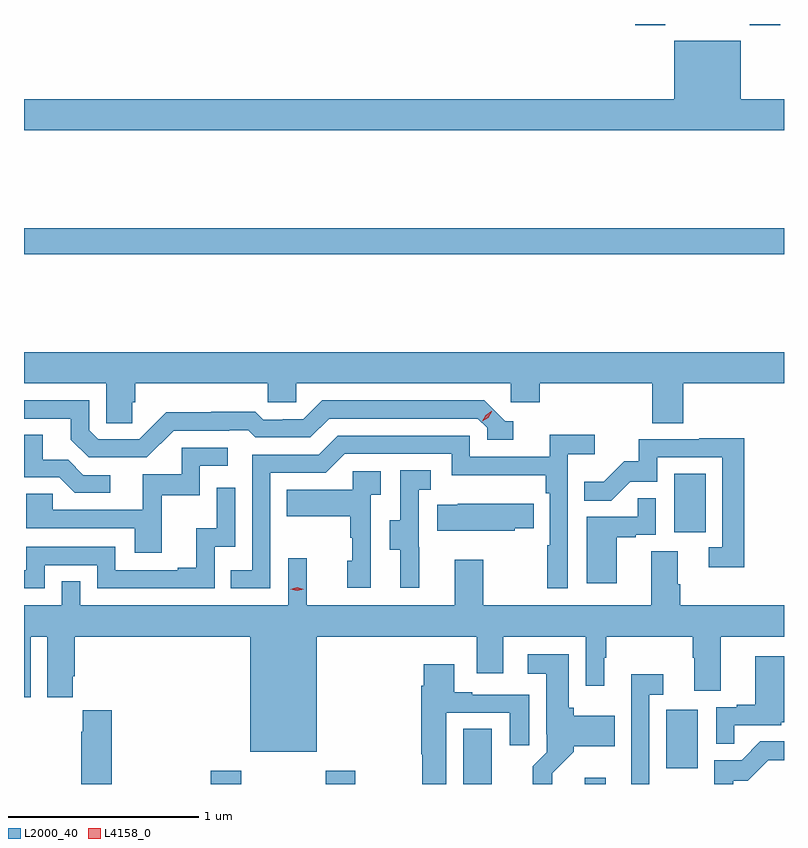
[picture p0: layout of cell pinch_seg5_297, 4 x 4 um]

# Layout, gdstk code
import gdstk
lib = gdstk.Library(unit=1e-6, precision=1e-09)
def R(c, l, rs):  # rectangles x0, y0, x1, y1
    for r in rs: c.add(gdstk.rectangle(r[:2], r[2:], *l))
def P(c, l, *ps):  # polygons
    for p in ps: c.add(gdstk.Polygon(p, *l))
L2000_40 = (2000, 40)
L4158_0 = (4158, 0)

pinch_seg5_297 = lib.new_cell('pinch_seg5_297')
R(pinch_seg5_297, L2000_40, [(891.749,890.616,891.909,890.686), (892.354,890.616,892.509,890.686), (893.078,890.616,893.227,890.906), (893.717,890.616,893.827,890.65), (894.146,890.7,894.31,891.007), (894.188,891.942,894.352,892.249), (890.765,893.404,894.765,893.54), (893.981,894.609,894.141,894.616), (894.586,894.609,894.746,894.616)])
P(pinch_seg5_297, L2000_40, [(894.765,894.22),(894.538,894.22),(894.538,894.529),(894.188,894.529),(894.188,894.22),(890.765,894.22),(890.765,894.056),(894.765,894.056)],
  [(891.335,892.626),(891.35,892.626),(891.35,892.724),(892.047,892.724),(892.047,892.626),(892.197,892.626),(892.197,892.724),(893.328,892.724),(893.328,892.626),(893.48,892.626),(893.48,892.724),(894.071,892.724),(894.071,892.516),(894.236,892.516),(894.236,892.724),(894.765,892.724),(894.765,892.888),(890.765,892.888),(890.765,892.724),(891.198,892.724),(891.198,892.516),(891.335,892.516)],
  [(891.552,892.476),(891.845,892.476),(891.845,892.479),(891.944,892.479),(891.983,892.44),(892.272,892.44),(892.371,892.539),(893.154,892.539),(893.202,892.491),(893.202,892.428),(893.341,892.428),(893.341,892.524),(893.298,892.524),(893.187,892.635),(892.334,892.635),(892.235,892.536),(892.128,892.536),(892.128,892.533),(892.025,892.533),(891.983,892.576),(891.75,892.576),(891.75,892.573),(891.514,892.573),(891.372,892.431),(891.156,892.431),(891.108,892.479),(891.108,892.635),(890.765,892.635),(890.765,892.539),(891.011,892.539),(891.011,892.429),(891.105,892.335),(891.411,892.335)],
  [(892.062,892.254),(892.353,892.254),(892.452,892.353),(893.016,892.353),(893.016,892.241),(893.512,892.241),(893.512,892.145),(893.532,892.145),(893.532,891.872),(893.52,891.872),(893.52,891.645),(893.628,891.645),(893.628,892.352),(893.77,892.352),(893.77,892.454),(893.531,892.454),(893.531,892.338),(893.112,892.338),(893.112,892.449),(892.415,892.449),(892.316,892.35),(891.966,892.35),(891.966,891.741),(891.853,891.741),(891.853,891.645),(892.062,891.645)],
  [(891.22,892.242),(891.078,892.242),(890.998,892.322),(890.863,892.322),(890.863,892.454),(890.765,892.454),(890.765,892.23),(890.951,892.23),(891.032,892.149),(891.22,892.149)],
  [(894.557,892.436),(894.319,892.436),(894.319,892.431),(894.001,892.431),(894.001,892.314),(893.924,892.314),(893.817,892.207),(893.713,892.207),(893.713,892.108),(893.857,892.108),(893.955,892.206),(894.099,892.206),(894.099,892.335),(894.441,892.335),(894.441,891.861),(894.369,891.861),(894.369,891.756),(894.557,891.756)],
  [(891.491,892.137),(891.69,892.137),(891.69,892.29),(891.838,892.29),(891.838,892.386),(891.594,892.386),(891.594,892.245),(891.389,892.245),(891.389,892.059),(890.915,892.059),(890.915,892.143),(890.778,892.143),(890.778,891.963),(891.347,891.963),(891.347,891.834),(891.491,891.834)],
  [(892.844,891.861),(892.842,891.861),(892.842,892.165),(892.906,892.165),(892.906,892.268),(892.746,892.268),(892.746,892.005),(892.691,892.005),(892.691,891.85),(892.745,891.85),(892.745,891.648),(892.844,891.648)],
  [(892.59,892.139),(892.642,892.139),(892.642,892.263),(892.494,892.263),(892.494,892.165),(892.147,892.165),(892.147,892.025),(892.482,892.025),(892.482,891.911),(892.492,891.911),(892.492,891.792),(892.466,891.792),(892.466,891.648),(892.59,891.648)],
  [(890.874,891.768),(891.15,891.768),(891.15,891.645),(891.768,891.645),(891.768,891.864),(891.876,891.864),(891.876,892.174),(891.78,892.174),(891.78,891.962),(891.671,891.962),(891.671,891.754),(891.575,891.754),(891.575,891.741),(891.246,891.741),(891.246,891.864),(890.778,891.864),(890.778,891.741),(890.765,891.741),(890.765,891.645),(890.874,891.645)],
  [(893.884,891.915),(893.984,891.915),(893.984,891.927),(894.09,891.927),(894.09,892.121),(893.995,892.121),(893.995,892.023),(893.726,892.023),(893.726,891.672),(893.884,891.672)],
  [(893.349,891.961),(893.447,891.961),(893.447,892.09),(893.047,892.09),(893.047,892.087),(892.939,892.087),(892.939,891.95),(893.349,891.95)],
  [(892.306,891.392),(893.147,891.392),(893.147,891.198),(893.287,891.198),(893.287,891.392),(893.721,891.392),(893.721,891.132),(893.818,891.132),(893.818,891.28),(893.83,891.28),(893.83,891.392),(894.286,891.392),(894.286,891.28),(894.293,891.28),(894.293,891.106),(894.433,891.106),(894.433,891.392),(894.765,891.392),(894.765,891.556),(894.218,891.556),(894.218,891.668),(894.205,891.668),(894.205,891.842),(894.065,891.842),(894.065,891.556),(893.181,891.556),(893.181,891.796),(893.033,891.796),(893.033,891.556),(892.253,891.556),(892.253,891.805),(892.155,891.805),(892.155,891.556),(891.06,891.556),(891.06,891.683),(890.964,891.683),(890.964,891.556),(890.765,891.556),(890.765,891.072),(890.8,891.072),(890.8,891.392),(890.888,891.392),(890.888,891.072),(891.022,891.072),(891.022,891.184),(891.032,891.184),(891.032,891.392),(891.956,891.392),(891.956,890.786),(892.306,890.786)],
  [(893.545,890.672),(893.658,890.785),(893.658,890.816),(893.875,890.816),(893.875,890.974),(893.658,890.974),(893.658,891.018),(893.632,891.018),(893.632,891.298),(893.415,891.298),(893.415,891.197),(893.513,891.197),(893.513,890.878),(893.517,890.878),(893.517,890.784),(893.443,890.71),(893.443,890.616),(893.545,890.616)],
  [(894.503,890.925),(894.75,890.925),(894.75,890.94),(894.765,890.94),(894.765,891.289),(894.614,891.289),(894.614,891.034),(894.515,891.034),(894.515,891.021),(894.408,891.021),(894.408,890.827),(894.503,890.827)],
  [(892.987,890.991),(893.321,890.991),(893.321,890.82),(893.425,890.82),(893.425,891.087),(893.125,891.087),(893.125,891.1),(893.029,891.1),(893.029,891.247),(892.868,891.247),(892.868,891.134),(892.856,891.134),(892.856,890.772),(892.861,890.772),(892.861,890.616),(892.987,890.616)],
  [(894.057,891.087),(894.13,891.087),(894.13,891.193),(893.961,891.193),(893.961,890.72),(893.96,890.72),(893.96,890.616),(894.057,890.616)],
  [(891.227,891.004),(891.073,891.004),(891.073,890.891),(891.067,890.891),(891.067,890.616),(891.227,890.616)],
  [(894.498,890.634),(894.574,890.634),(894.681,890.741),(894.765,890.741),(894.765,890.84),(894.641,890.84),(894.543,890.742),(894.399,890.742),(894.399,890.616),(894.498,890.616)])
P(pinch_seg5_297, L4158_0, [(893.177,892.525),(893.177,892.526),(893.194,892.558),(893.225,892.577),(893.226,892.577),(893.226,892.576),(893.209,892.544),(893.178,892.525)],
  [(892.202,891.632),(892.166,891.642),(892.166,891.642),(892.166,891.642),(892.202,891.652),(892.237,891.642),(892.237,891.642),(892.237,891.642)])

lib.write_gds('pinch_seg5_297.gds')
